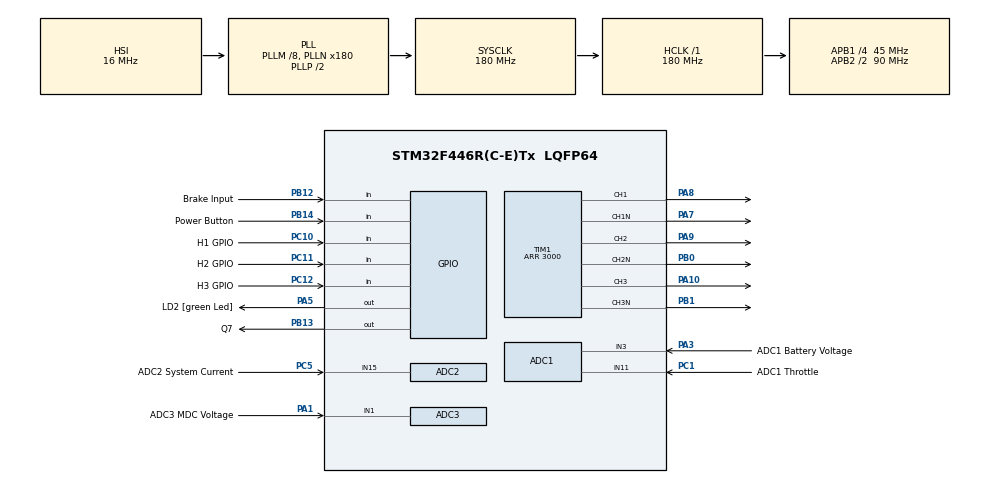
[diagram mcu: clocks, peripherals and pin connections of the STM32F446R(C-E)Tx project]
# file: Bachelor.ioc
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Mcu.Family=STM32F4
Dma.ADC2.2.FIFOMode=DMA_FIFOMODE_DISABLE
Dma.ADC2.2.Priority=DMA_PRIORITY_HIGH
RCC.CortexFreq_Value=180000000
PB13.Stacked=true
PC10.GPIO_PuPd=GPIO_PULLDOWN
TIM1.OCIdleState_1=TIM_OCIDLESTATE_RESET
TIM1.OCIdleState_2=TIM_OCIDLESTATE_RESET
ADC2.SamplingTime-1\#ChannelRegularConversion=ADC_SAMPLETIME_3CYCLES
ADC2.Channel-0\#ChannelRegularConversion=ADC_CHANNEL_15
PA10.GPIO_PuPd=GPIO_PULLDOWN
TIM1.OCIdleState_3=TIM_OCIDLESTATE_RESET
PC10.Signal=GPIO_Input
PC12.Signal=GPIO_Input
PB14.GPIO_Label=Power Button
PB13.GPIO_Label=Q7
PB13.Signal=GPIO_Output
ADC3.Channel-0\#ChannelRegularConversion=ADC_CHANNEL_1
RCC.SYSCLKSource=RCC_SYSCLKSOURCE_PLLCLK
ProjectManager.StackSize=0x400
NVIC.ADC_IRQn=true\:0\:0\:false\:false\:true\:true\:true
Dma.ADC3.1.PeriphDataAlignment=DMA_PDATAALIGN_WORD
PC11.GPIO_PuPd=GPIO_PULLDOWN
ADC2.DMAContinuousRequests=ENABLE
ADC1.Channel-3\#ChannelRegularConversion=ADC_CHANNEL_11
ADC1.Mode=ADC_TRIPLEMODE_REGSIMULT_INJECSIMULT
PB1.GPIO_PuPd=GPIO_PULLDOWN
RCC.HCLKFreq_Value=180000000
SH.ADCx_IN3.0=ADC1_IN3,IN3
RCC.APB2TimFreq_Value=180000000
Dma.ADC1.0.Direction=DMA_PERIPH_TO_MEMORY
TIM1.AutomaticOutput=TIM_AUTOMATICOUTPUT_DISABLE
ADC3.ScanConvMode=ENABLE
NVIC.DMA2_Stream0_IRQn=true\:0\:0\:false\:false\:true\:false\:true
Dma.ADC1.0.MemDataAlignment=DMA_MDATAALIGN_WORD
RCC.AHBFreq_Value=180000000
ADC3.SamplingTime-1\#ChannelRegularConversion=ADC_SAMPLETIME_3CYCLES
ADC1.ScanConvMode=ENABLE
SH.ADCx_IN15.0=ADC2_IN15,IN15
PB12.GPIO_Label=Brake Input
ADC1.SamplingTime-4\#ChannelRegularConversion=ADC_SAMPLETIME_3CYCLES
PA14.Mode=Serial_Wire
Dma.ADC1.0.PeriphInc=DMA_PINC_DISABLE
TIM1.DeadTime=80
PC11.GPIO_Label=H2 GPIO
PA8.Signal=S_TIM1_CH1
TIM6.Period=65535
Dma.ADC2.2.Instance=DMA2_Stream2
VP_TIM1_VS_ClockSourceINT.Mode=Internal
Mcu.Package=LQFP64
PB1.Signal=TIM1_CH3N
Dma.ADC3.1.Direction=DMA_PERIPH_TO_MEMORY
Dma.ADC2.2.PeriphInc=DMA_PINC_DISABLE
Dma.ADC2.2.MemDataAlignment=DMA_MDATAALIGN_WORD
ADC2.Channel-1\#ChannelRegularConversion=ADC_CHANNEL_15
ADC3.Rank-0\#ChannelRegularConversion=1
TIM1.OCMode_PWM-PWM\ Generation3\ CH3\ CH3N=TIM_OCMODE_PWM1
PA10.Signal=S_TIM1_CH3
ADC2.SamplingTime-0\#ChannelRegularConversion=ADC_SAMPLETIME_3CYCLES
ADC3.DMAContinuousRequests=ENABLE
RCC.APB2CLKDivider=RCC_HCLK_DIV2
SH.ADCx_IN1.0=ADC3_IN1,IN1
NVIC.DMA2_Stream2_IRQn=true\:0\:0\:false\:false\:true\:false\:true
ADC2.NbrOfConversion=2
Dma.Request2=ADC2
Dma.ADC2.2.MemInc=DMA_MINC_ENABLE
Dma.Request1=ADC3
RCC.APB1TimFreq_Value=90000000
Dma.ADC1.0.FIFOMode=DMA_FIFOMODE_DISABLE
TIM1.OCMode_PWM-PWM\ Generation2\ CH2\ CH2N=TIM_OCMODE_PWM1
PC5.Signal=ADCx_IN15
TIM1.Period=3000
PC12.GPIO_PuPd=GPIO_PULLDOWN
ADC2.Rank-0\#ChannelRegularConversion=1
Dma.ADC2.2.PeriphDataAlignment=DMA_PDATAALIGN_WORD
Dma.Request0=ADC1
Dma.ADC3.1.Priority=DMA_PRIORITY_HIGH
ADC2.DMAAccessMode=ADC_DMAACCESSMODE_1
ADC1.Rank-4\#ChannelRegularConversion=2
ADC2.ScanConvMode=ENABLE
PA3.Signal=ADCx_IN3
Dma.ADC1.0.Instance=DMA2_Stream0
ADC2.Mode=ADC_TRIPLEMODE_REGSIMULT_INJECSIMULT
TIM1.OffStateIDLEMode=TIM_OSSI_DISABLE
PA7.Mode=PWM Generation1 CH1 CH1N
ADC1.Channel-4\#ChannelRegularConversion=ADC_CHANNEL_3
PC10.GPIO_Label=H1 GPIO
PC11.Signal=GPIO_Input
VP_TIM6_VS_ClockSourceINT.Mode=Enable_Timer
TIM1.Channel-PWM\ Generation1\ CH1\ CH1N=TIM_CHANNEL_1
NVIC.DMA2_Stream1_IRQn=true\:0\:0\:false\:false\:true\:false\:true
RCC.APB1CLKDivider=RCC_HCLK_DIV4
PA9.GPIO_PuPd=GPIO_PULLDOWN
PA13.Signal=SYS_JTMS-SWDIO
TIM1.AutoReloadPreload=TIM_AUTORELOAD_PRELOAD_ENABLE
TIM1.Channel-PWM\ Generation2\ CH2\ CH2N=TIM_CHANNEL_2
Dma.ADC1.0.PeriphDataAlignment=DMA_PDATAALIGN_WORD
ADC3.SamplingTime-0\#ChannelRegularConversion=ADC_SAMPLETIME_3CYCLES
SH.S_TIM1_CH1.0=TIM1_CH1,PWM Generation1 CH1 CH1N
ProjectManager.TargetToolchain=STM32CubeIDE
Dma.ADC1.0.Mode=DMA_CIRCULAR
Dma.ADC1.0.Priority=DMA_PRIORITY_HIGH
PA9.Signal=S_TIM1_CH2
VP_TIM8_VS_ClockSourceINT.Mode=Internal
TIM1.Channel-PWM\ Generation3\ CH3\ CH3N=TIM_CHANNEL_3
RCC.USBFreq_Value=180000000
ADC3.NbrOfConversion=2
Dma.ADC3.1.FIFOMode=DMA_FIFOMODE_DISABLE
PA1.Signal=ADCx_IN1
PA7.GPIO_PuPd=GPIO_PULLDOWN
Dma.ADC3.1.Instance=DMA2_Stream1
PB14.Signal=GPIO_Input
PA5.Signal=GPIO_Output
PB0.Mode=PWM Generation2 CH2 CH2N
TIM8.AutoReloadPreload=TIM_AUTORELOAD_PRELOAD_ENABLE
board=custom
RCC.VCOOutputFreq_Value=360000000
TIM1.OCNPolarity_1=TIM_OCNPOLARITY_LOW
TIM1.OCNIdleState_3=TIM_OCNIDLESTATE_SET
TIM1.OCNIdleState_2=TIM_OCNIDLESTATE_SET
TIM1.OCNIdleState_1=TIM_OCNIDLESTATE_SET
RCC.APB2Freq_Value=90000000
TIM1.OCNPolarity_3=TIM_OCNPOLARITY_LOW
PB13.PinState=GPIO_PIN_RESET
TIM1.OCNPolarity_2=TIM_OCNPOLARITY_LOW
SH.ADCx_IN11.0=ADC1_IN11,IN11
SH.S_TIM1_CH2.0=TIM1_CH2,PWM Generation2 CH2 CH2N
VP_TIM2_VS_ClockSourceINT.Mode=Internal
Dma.ADC2.2.Direction=DMA_PERIPH_TO_MEMORY
PC1.GPIO_Label=ADC1 Throttle
PA1.GPIO_Label=ADC3 MDC Voltage
Dma.ADC3.1.MemDataAlignment=DMA_MDATAALIGN_WORD
Dma.ADC3.1.MemInc=DMA_MINC_ENABLE
Dma.ADC3.1.PeriphInc=DMA_PINC_DISABLE
TIM1.OffStateRunMode=TIM_OSSR_ENABLE
ADC1.DMAContinuousRequests=ENABLE
ADC1.NbrOfConversion=2
PA13.Mode=Serial_Wire
Dma.ADC3.1.Mode=DMA_CIRCULAR
Mcu.Name=STM32F446R(C-E)Tx
ADC3.Channel-1\#ChannelRegularConversion=ADC_CHANNEL_1
ADC1.ExternalTrigConv=ADC_EXTERNALTRIGCONV_T8_TRGO
TIM8.Period=12000
Dma.ADC2.2.Mode=DMA_CIRCULAR
ADC3.Rank-1\#ChannelRegularConversion=2
RCC.SYSCLKFreq_VALUE=180000000
ADC1.master=1
PA5.GPIO_Label=LD2 [green Led]
ADC1.Rank-3\#ChannelRegularConversion=1
ADC1.SamplingTime-3\#ChannelRegularConversion=ADC_SAMPLETIME_3CYCLES
ADC2.NbrOfConversionFlag=1
TIM8.TIM_MasterOutputTrigger=TIM_TRGO_UPDATE
PC5.GPIO_Label=ADC2 System Current
PC12.GPIO_Label=H3 GPIO
PA14.Signal=SYS_JTCK-SWCLK
Dma.ADC1.0.MemInc=DMA_MINC_ENABLE
ProjectManager.HeapSize=0x200
PB1.Mode=PWM Generation3 CH3 CH3N
SH.S_TIM1_CH3.0=TIM1_CH3,PWM Generation3 CH3 CH3N
PA8.GPIO_PuPd=GPIO_PULLDOWN
NVIC.TIM8_UP_TIM13_IRQn=true\:0\:0\:false\:false\:true\:true\:true
NVIC.PriorityGroup=NVIC_PRIORITYGROUP_4
ADC1.NbrOfConversionFlag=1
RCC.PLLM=8
RCC.PLLN=180
ADC2.Rank-1\#ChannelRegularConversion=2
PB12.GPIO_PuPd=GPIO_PULLDOWN
RCC.APB1Freq_Value=45000000
ADC3.NbrOfConversionFlag=1
PB0.Signal=TIM1_CH2N
ADC1.ClockPrescaler=ADC_CLOCK_SYNC_PCLK_DIV4
PC1.Signal=ADCx_IN11
PB12.Signal=GPIO_Input
PB0.GPIO_PuPd=GPIO_PULLDOWN
PA3.GPIO_Label=ADC1 Battery Voltage
PA7.Signal=TIM1_CH1N

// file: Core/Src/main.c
/* USER CODE BEGIN Header */
/**
  ******************************************************************************
  * @file           : main.c
  * @brief          : Main program body
  ******************************************************************************
  * @attention
  *
  * <h2><center>&copy; Copyright (c) 2021 STMicroelectronics.
  * All rights reserved.</center></h2>
  *
  * This software component is licensed by ST under BSD 3-Clause license,
  * the "License"; You may not use this file except in compliance with the
  * License. You may obtain a copy of the License at:
  *                        opensource.org/licenses/BSD-3-Clause
  *
  ******************************************************************************
  */
/* USER CODE END Header */
#include "main.h"

/* USER CODE BEGIN Includes */
#include "SystemMeasurements.h"
#include "StateMachine.h"
#include "Ramp.h"
#include "PWM.h"
#include "BLDC.h"
#include "MotorPos.h"
#include "Brake.h"
#include "Error.h"
#include "Throttle.h"

/* USER CODE END Includes */

ADC_HandleTypeDef hadc1;
ADC_HandleTypeDef hadc2;
ADC_HandleTypeDef hadc3;
DMA_HandleTypeDef hdma_adc1;
DMA_HandleTypeDef hdma_adc2;
DMA_HandleTypeDef hdma_adc3;

TIM_HandleTypeDef htim1;
TIM_HandleTypeDef htim2;
TIM_HandleTypeDef htim6;
TIM_HandleTypeDef htim8;

void SystemClock_Config(void);
static void MX_GPIO_Init(void);
static void MX_DMA_Init(void);
static void MX_ADC1_Init(void);
static void MX_TIM1_Init(void);
static void MX_ADC2_Init(void);
static void MX_ADC3_Init(void);
static void MX_TIM8_Init(void);
static void MX_TIM2_Init(void);
static void MX_TIM6_Init(void);

/* USER CODE BEGIN 0 */

/* Test Variables Start */

/* Test Variables End */

ADC_HandleTypeDef hadc1;
ADC_HandleTypeDef hadc2;
ADC_HandleTypeDef hadc3;
DMA_HandleTypeDef hdma_adc1;

/* USER CODE END 0 */

int main(void)
{
  /* USER CODE BEGIN 1 */

	MX_TIM1_Init();
  /* USER CODE END 1 */

  /* MCU Configuration--------------------------------------------------------*/

  /* Reset of all peripherals, Initializes the Flash interface and the Systick. */
  HAL_Init();

  /* Configure the system clock */
  SystemClock_Config();

  /* Initialize all configured peripherals */
  MX_GPIO_Init();
  MX_DMA_Init();
  MX_ADC1_Init();
  MX_TIM1_Init();
  MX_ADC2_Init();
  MX_ADC3_Init();
  MX_TIM8_Init();
  MX_TIM2_Init();
  MX_TIM6_Init();
  /* USER CODE BEGIN 2 */

  pfx_setupMeasurement();
  HAL_TIM_Base_Start_IT(&htim8);
  HAL_TIM_Base_Start(&htim6);

  /* Start PWM Timer*/
  HAL_TIM_PWM_Start(&htim1, TIM_CHANNEL_1);
  HAL_TIM_PWM_Start(&htim1, TIM_CHANNEL_2);
  HAL_TIM_PWM_Start(&htim1, TIM_CHANNEL_3);
  HAL_TIMEx_PWMN_Start(&htim1, TIM_CHANNEL_1);
  HAL_TIMEx_PWMN_Start(&htim1, TIM_CHANNEL_2);
  HAL_TIMEx_PWMN_Start(&htim1, TIM_CHANNEL_3);
  TIM1->CCER &= 0xFAAA; 	// Turn off ALL Channels
  /* USER CODE END 2 */

  /* Infinite loop */
while (1)
	{

	}
}

void SystemClock_Config(void)
{
  RCC_OscInitTypeDef RCC_OscInitStruct = {0};
  RCC_ClkInitTypeDef RCC_ClkInitStruct = {0};

  /** Configure the main internal regulator output voltage
  */
  __HAL_RCC_PWR_CLK_ENABLE();
  __HAL_PWR_VOLTAGESCALING_CONFIG(PWR_REGULATOR_VOLTAGE_SCALE1);
  /** Initializes the RCC Oscillators according to the specified parameters
  * in the RCC_OscInitTypeDef structure.
  */
  RCC_OscInitStruct.OscillatorType = RCC_OSCILLATORTYPE_HSI;
  RCC_OscInitStruct.HSIState = RCC_HSI_ON;
  RCC_OscInitStruct.HSICalibrationValue = RCC_HSICALIBRATION_DEFAULT;
  RCC_OscInitStruct.PLL.PLLState = RCC_PLL_ON;
  RCC_OscInitStruct.PLL.PLLSource = RCC_PLLSOURCE_HSI;
  RCC_OscInitStruct.PLL.PLLM = 8;
  RCC_OscInitStruct.PLL.PLLN = 180;
  RCC_OscInitStruct.PLL.PLLP = RCC_PLLP_DIV2;
  RCC_OscInitStruct.PLL.PLLQ = 2;
  RCC_OscInitStruct.PLL.PLLR = 2;
  if (HAL_RCC_OscConfig(&RCC_OscInitStruct) != HAL_OK)
  {
    Error_Handler();
  }
  /** Activate the Over-Drive mode
  */
  if (HAL_PWREx_EnableOverDrive() != HAL_OK)
  {
    Error_Handler();
  }
  /** Initializes the CPU, AHB and APB buses clocks
  */
  RCC_ClkInitStruct.ClockType = RCC_CLOCKTYPE_HCLK|RCC_CLOCKTYPE_SYSCLK
                              |RCC_CLOCKTYPE_PCLK1|RCC_CLOCKTYPE_PCLK2;
  RCC_ClkInitStruct.SYSCLKSource = RCC_SYSCLKSOURCE_PLLCLK;
  RCC_ClkInitStruct.AHBCLKDivider = RCC_SYSCLK_DIV1;
  RCC_ClkInitStruct.APB1CLKDivider = RCC_HCLK_DIV4;
  RCC_ClkInitStruct.APB2CLKDivider = RCC_HCLK_DIV2;

  if (HAL_RCC_ClockConfig(&RCC_ClkInitStruct, FLASH_LATENCY_5) != HAL_OK)
  {
    Error_Handler();
  }
}

static void MX_ADC1_Init(void)
{

  ADC_MultiModeTypeDef multimode = {0};
  ADC_ChannelConfTypeDef sConfig = {0};

  /** Configure the global features of the ADC (Clock, Resolution, Data Alignment and number of conversion)
  */
  hadc1.Instance = ADC1;
  hadc1.Init.ClockPrescaler = ADC_CLOCK_SYNC_PCLK_DIV4;
  hadc1.Init.Resolution = ADC_RESOLUTION_12B;
  hadc1.Init.ScanConvMode = ENABLE;
  hadc1.Init.ContinuousConvMode = DISABLE;
  hadc1.Init.DiscontinuousConvMode = DISABLE;
  hadc1.Init.ExternalTrigConvEdge = ADC_EXTERNALTRIGCONVEDGE_RISING;
  hadc1.Init.ExternalTrigConv = ADC_EXTERNALTRIGCONV_T8_TRGO;
  hadc1.Init.DataAlign = ADC_DATAALIGN_RIGHT;
  hadc1.Init.NbrOfConversion = 2;
  hadc1.Init.DMAContinuousRequests = ENABLE;
  hadc1.Init.EOCSelection = ADC_EOC_SINGLE_CONV;
  if (HAL_ADC_Init(&hadc1) != HAL_OK)
  {
    Error_Handler();
  }
  /** Configure the ADC multi-mode
  */
  multimode.Mode = ADC_TRIPLEMODE_REGSIMULT_INJECSIMULT;
  multimode.DMAAccessMode = ADC_DMAACCESSMODE_1;
  multimode.TwoSamplingDelay = ADC_TWOSAMPLINGDELAY_5CYCLES;
  if (HAL_ADCEx_MultiModeConfigChannel(&hadc1, &multimode) != HAL_OK)
  {
    Error_Handler();
  }
  /** Configure for the selected ADC regular channel its corresponding rank in the sequencer and its sample time.
  */
  sConfig.Channel = ADC_CHANNEL_11;
  sConfig.Rank = 1;
  sConfig.SamplingTime = ADC_SAMPLETIME_3CYCLES;
  if (HAL_ADC_ConfigChannel(&hadc1, &sConfig) != HAL_OK)
  {
    Error_Handler();
  }
  /** Configure for the selected ADC regular channel its corresponding rank in the sequencer and its sample time.
  */
  sConfig.Channel = ADC_CHANNEL_3;
  sConfig.Rank = 2;
  if (HAL_ADC_ConfigChannel(&hadc1, &sConfig) != HAL_OK)
  {
    Error_Handler();
  }

}

static void MX_ADC2_Init(void)
{

  ADC_ChannelConfTypeDef sConfig = {0};

  /** Configure the global features of the ADC (Clock, Resolution, Data Alignment and number of conversion)
  */
  hadc2.Instance = ADC2;
  hadc2.Init.ClockPrescaler = ADC_CLOCK_SYNC_PCLK_DIV4;
  hadc2.Init.Resolution = ADC_RESOLUTION_12B;
  hadc2.Init.ScanConvMode = ENABLE;
  hadc2.Init.ContinuousConvMode = DISABLE;
  hadc2.Init.DiscontinuousConvMode = DISABLE;
  hadc2.Init.DataAlign = ADC_DATAALIGN_RIGHT;
  hadc2.Init.NbrOfConversion = 2;
  hadc2.Init.DMAContinuousRequests = ENABLE;
  hadc2.Init.EOCSelection = ADC_EOC_SINGLE_CONV;
  if (HAL_ADC_Init(&hadc2) != HAL_OK)
  {
    Error_Handler();
  }
  /** Configure for the selected ADC regular channel its corresponding rank in the sequencer and its sample time.
  */
  sConfig.Channel = ADC_CHANNEL_15;
  sConfig.Rank = 1;
  sConfig.SamplingTime = ADC_SAMPLETIME_3CYCLES;
  if (HAL_ADC_ConfigChannel(&hadc2, &sConfig) != HAL_OK)
  {
    Error_Handler();
  }
  /** Configure for the selected ADC regular channel its corresponding rank in the sequencer and its sample time.
  */
  sConfig.Rank = 2;
  if (HAL_ADC_ConfigChannel(&hadc2, &sConfig) != HAL_OK)
  {
    Error_Handler();
  }

}

static void MX_ADC3_Init(void)
{

  ADC_ChannelConfTypeDef sConfig = {0};

  /** Configure the global features of the ADC (Clock, Resolution, Data Alignment and number of conversion)
  */
  hadc3.Instance = ADC3;
  hadc3.Init.ClockPrescaler = ADC_CLOCK_SYNC_PCLK_DIV4;
  hadc3.Init.Resolution = ADC_RESOLUTION_12B;
  hadc3.Init.ScanConvMode = ENABLE;
  hadc3.Init.ContinuousConvMode = DISABLE;
  hadc3.Init.DiscontinuousConvMode = DISABLE;
  hadc3.Init.DataAlign = ADC_DATAALIGN_RIGHT;
  hadc3.Init.NbrOfConversion = 2;
  hadc3.Init.DMAContinuousRequests = ENABLE;
  hadc3.Init.EOCSelection = ADC_EOC_SINGLE_CONV;
  if (HAL_ADC_Init(&hadc3) != HAL_OK)
  {
    Error_Handler();
  }
  /** Configure for the selected ADC regular channel its corresponding rank in the sequencer and its sample time.
  */
  sConfig.Channel = ADC_CHANNEL_1;
  sConfig.Rank = 1;
  sConfig.SamplingTime = ADC_SAMPLETIME_3CYCLES;
  if (HAL_ADC_ConfigChannel(&hadc3, &sConfig) != HAL_OK)
  {
    Error_Handler();
  }
  /** Configure for the selected ADC regular channel its corresponding rank in the sequencer and its sample time.
  */
  sConfig.Rank = 2;
  if (HAL_ADC_ConfigChannel(&hadc3, &sConfig) != HAL_OK)
  {
    Error_Handler();
  }

}

static void MX_TIM1_Init(void)
{

  TIM_ClockConfigTypeDef sClockSourceConfig = {0};
  TIM_MasterConfigTypeDef sMasterConfig = {0};
  TIM_OC_InitTypeDef sConfigOC = {0};
  TIM_BreakDeadTimeConfigTypeDef sBreakDeadTimeConfig = {0};

  htim1.Instance = TIM1;
  htim1.Init.Prescaler = 0;
  htim1.Init.CounterMode = TIM_COUNTERMODE_UP;
  htim1.Init.Period = 3000;
  htim1.Init.ClockDivision = TIM_CLOCKDIVISION_DIV1;
  htim1.Init.RepetitionCounter = 0;
  htim1.Init.AutoReloadPreload = TIM_AUTORELOAD_PRELOAD_ENABLE;
  if (HAL_TIM_Base_Init(&htim1) != HAL_OK)
  {
    Error_Handler();
  }
  sClockSourceConfig.ClockSource = TIM_CLOCKSOURCE_INTERNAL;
  if (HAL_TIM_ConfigClockSource(&htim1, &sClockSourceConfig) != HAL_OK)
  {
    Error_Handler();
  }
  if (HAL_TIM_PWM_Init(&htim1) != HAL_OK)
  {
    Error_Handler();
  }
  sMasterConfig.MasterOutputTrigger = TIM_TRGO_RESET;
  sMasterConfig.MasterSlaveMode = TIM_MASTERSLAVEMODE_DISABLE;
  if (HAL_TIMEx_MasterConfigSynchronization(&htim1, &sMasterConfig) != HAL_OK)
  {
    Error_Handler();
  }
  sConfigOC.OCMode = TIM_OCMODE_PWM1;
  sConfigOC.Pulse = 0;
  sConfigOC.OCPolarity = TIM_OCPOLARITY_HIGH;
  sConfigOC.OCNPolarity = TIM_OCNPOLARITY_LOW;
  sConfigOC.OCFastMode = TIM_OCFAST_DISABLE;
  sConfigOC.OCIdleState = TIM_OCIDLESTATE_RESET;
  sConfigOC.OCNIdleState = TIM_OCNIDLESTATE_SET;
  if (HAL_TIM_PWM_ConfigChannel(&htim1, &sConfigOC, TIM_CHANNEL_1) != HAL_OK)
  {
    Error_Handler();
  }
  if (HAL_TIM_PWM_ConfigChannel(&htim1, &sConfigOC, TIM_CHANNEL_2) != HAL_OK)
  {
    Error_Handler();
  }
  if (HAL_TIM_PWM_ConfigChannel(&htim1, &sConfigOC, TIM_CHANNEL_3) != HAL_OK)
  {
    Error_Handler();
  }
  sBreakDeadTimeConfig.OffStateRunMode = TIM_OSSR_ENABLE;
  sBreakDeadTimeConfig.OffStateIDLEMode = TIM_OSSI_DISABLE;
  sBreakDeadTimeConfig.LockLevel = TIM_LOCKLEVEL_OFF;
  sBreakDeadTimeConfig.DeadTime = 80;
  sBreakDeadTimeConfig.BreakState = TIM_BREAK_DISABLE;
  sBreakDeadTimeConfig.BreakPolarity = TIM_BREAKPOLARITY_HIGH;
  sBreakDeadTimeConfig.AutomaticOutput = TIM_AUTOMATICOUTPUT_DISABLE;
  if (HAL_TIMEx_ConfigBreakDeadTime(&htim1, &sBreakDeadTimeConfig) != HAL_OK)
  {
    Error_Handler();
  }
  HAL_TIM_MspPostInit(&htim1);

}

static void MX_TIM2_Init(void)
{

  TIM_ClockConfigTypeDef sClockSourceConfig = {0};
  TIM_MasterConfigTypeDef sMasterConfig = {0};

  htim2.Instance = TIM2;
  htim2.Init.Prescaler = 0;
  htim2.Init.CounterMode = TIM_COUNTERMODE_UP;
  htim2.Init.Period = 4294967295;
  htim2.Init.ClockDivision = TIM_CLOCKDIVISION_DIV1;
  htim2.Init.AutoReloadPreload = TIM_AUTORELOAD_PRELOAD_DISABLE;
  if (HAL_TIM_Base_Init(&htim2) != HAL_OK)
  {
    Error_Handler();
  }
  sClockSourceConfig.ClockSource = TIM_CLOCKSOURCE_INTERNAL;
  if (HAL_TIM_ConfigClockSource(&htim2, &sClockSourceConfig) != HAL_OK)
  {
    Error_Handler();
  }
  sMasterConfig.MasterOutputTrigger = TIM_TRGO_RESET;
  sMasterConfig.MasterSlaveMode = TIM_MASTERSLAVEMODE_DISABLE;
  if (HAL_TIMEx_MasterConfigSynchronization(&htim2, &sMasterConfig) != HAL_OK)
  {
    Error_Handler();
  }

}

static void MX_TIM6_Init(void)
{

  TIM_MasterConfigTypeDef sMasterConfig = {0};

  htim6.Instance = TIM6;
  htim6.Init.Prescaler = 0;
  htim6.Init.CounterMode = TIM_COUNTERMODE_UP;
  htim6.Init.Period = 65535;
  htim6.Init.AutoReloadPreload = TIM_AUTORELOAD_PRELOAD_DISABLE;
  if (HAL_TIM_Base_Init(&htim6) != HAL_OK)
  {
    Error_Handler();
  }
  sMasterConfig.MasterOutputTrigger = TIM_TRGO_RESET;
  sMasterConfig.MasterSlaveMode = TIM_MASTERSLAVEMODE_DISABLE;
  if (HAL_TIMEx_MasterConfigSynchronization(&htim6, &sMasterConfig) != HAL_OK)
  {
    Error_Handler();
  }

}

static void MX_TIM8_Init(void)
{

  TIM_ClockConfigTypeDef sClockSourceConfig = {0};
  TIM_MasterConfigTypeDef sMasterConfig = {0};

  htim8.Instance = TIM8;
  htim8.Init.Prescaler = 0;
  htim8.Init.CounterMode = TIM_COUNTERMODE_UP;
  htim8.Init.Period = 12000;
  htim8.Init.ClockDivision = TIM_CLOCKDIVISION_DIV1;
  htim8.Init.RepetitionCounter = 0;
  htim8.Init.AutoReloadPreload = TIM_AUTORELOAD_PRELOAD_ENABLE;
  if (HAL_TIM_Base_Init(&htim8) != HAL_OK)
  {
    Error_Handler();
  }
  sClockSourceConfig.ClockSource = TIM_CLOCKSOURCE_INTERNAL;
  if (HAL_TIM_ConfigClockSource(&htim8, &sClockSourceConfig) != HAL_OK)
  {
    Error_Handler();
  }
  sMasterConfig.MasterOutputTrigger = TIM_TRGO_UPDATE;
  sMasterConfig.MasterSlaveMode = TIM_MASTERSLAVEMODE_DISABLE;
  if (HAL_TIMEx_MasterConfigSynchronization(&htim8, &sMasterConfig) != HAL_OK)
  {
    Error_Handler();
  }

}

static void MX_DMA_Init(void)
{

  /* DMA controller clock enable */
  __HAL_RCC_DMA2_CLK_ENABLE();

  /* DMA interrupt init */
  /* DMA2_Stream0_IRQn interrupt configuration */
  HAL_NVIC_SetPriority(DMA2_Stream0_IRQn, 0, 0);
  HAL_NVIC_EnableIRQ(DMA2_Stream0_IRQn);
  /* DMA2_Stream1_IRQn interrupt configuration */
  HAL_NVIC_SetPriority(DMA2_Stream1_IRQn, 0, 0);
  HAL_NVIC_EnableIRQ(DMA2_Stream1_IRQn);
  /* DMA2_Stream2_IRQn interrupt configuration */
  HAL_NVIC_SetPriority(DMA2_Stream2_IRQn, 0, 0);
  HAL_NVIC_EnableIRQ(DMA2_Stream2_IRQn);

}

static void MX_GPIO_Init(void)
{
  GPIO_InitTypeDef GPIO_InitStruct = {0};

  /* GPIO Ports Clock Enable */
  __HAL_RCC_GPIOC_CLK_ENABLE();
  __HAL_RCC_GPIOA_CLK_ENABLE();
  __HAL_RCC_GPIOB_CLK_ENABLE();

  /*Configure GPIO pin Output Level */
  HAL_GPIO_WritePin(LD2_GPIO_Port, LD2_Pin, GPIO_PIN_RESET);

  /*Configure GPIO pin Output Level */
  HAL_GPIO_WritePin(Q7_GPIO_Port, Q7_Pin, GPIO_PIN_RESET);

  /*Configure GPIO pin : LD2_Pin */
  GPIO_InitStruct.Pin = LD2_Pin;
  GPIO_InitStruct.Mode = GPIO_MODE_OUTPUT_PP;
  GPIO_InitStruct.Pull = GPIO_NOPULL;
  GPIO_InitStruct.Speed = GPIO_SPEED_FREQ_LOW;
  HAL_GPIO_Init(LD2_GPIO_Port, &GPIO_InitStruct);

  /*Configure GPIO pin : Brake_Input_Pin */
  GPIO_InitStruct.Pin = Brake_Input_Pin;
  GPIO_InitStruct.Mode = GPIO_MODE_INPUT;
  GPIO_InitStruct.Pull = GPIO_PULLDOWN;
  HAL_GPIO_Init(Brake_Input_GPIO_Port, &GPIO_InitStruct);

  /*Configure GPIO pin : Q7_Pin */
  GPIO_InitStruct.Pin = Q7_Pin;
  GPIO_InitStruct.Mode = GPIO_MODE_OUTPUT_PP;
  GPIO_InitStruct.Pull = GPIO_NOPULL;
  GPIO_InitStruct.Speed = GPIO_SPEED_FREQ_LOW;
  HAL_GPIO_Init(Q7_GPIO_Port, &GPIO_InitStruct);

  /*Configure GPIO pin : Power_Button_Pin */
  GPIO_InitStruct.Pin = Power_Button_Pin;
  GPIO_InitStruct.Mode = GPIO_MODE_INPUT;
  GPIO_InitStruct.Pull = GPIO_NOPULL;
  HAL_GPIO_Init(Power_Button_GPIO_Port, &GPIO_InitStruct);

  /*Configure GPIO pins : H1_GPIO_Pin H2_GPIO_Pin H3_GPIO_Pin */
  GPIO_InitStruct.Pin = H1_GPIO_Pin|H2_GPIO_Pin|H3_GPIO_Pin;
  GPIO_InitStruct.Mode = GPIO_MODE_INPUT;
  GPIO_InitStruct.Pull = GPIO_PULLDOWN;
  HAL_GPIO_Init(GPIOC, &GPIO_InitStruct);

}

/* USER CODE BEGIN 4 */
void HAL_ADC_ConvCpltCallback(ADC_HandleTypeDef* hadc)
{
	/* Prevent unused argument(s) compilation warning */
	pfx_stateInterruptFunction();
}
/* USER CODE END 4 */

void Error_Handler(void)
{
  __disable_irq();
  while (1)
  {
  }
}

/************************ (C) COPYRIGHT STMicroelectronics *****END OF FILE****/
